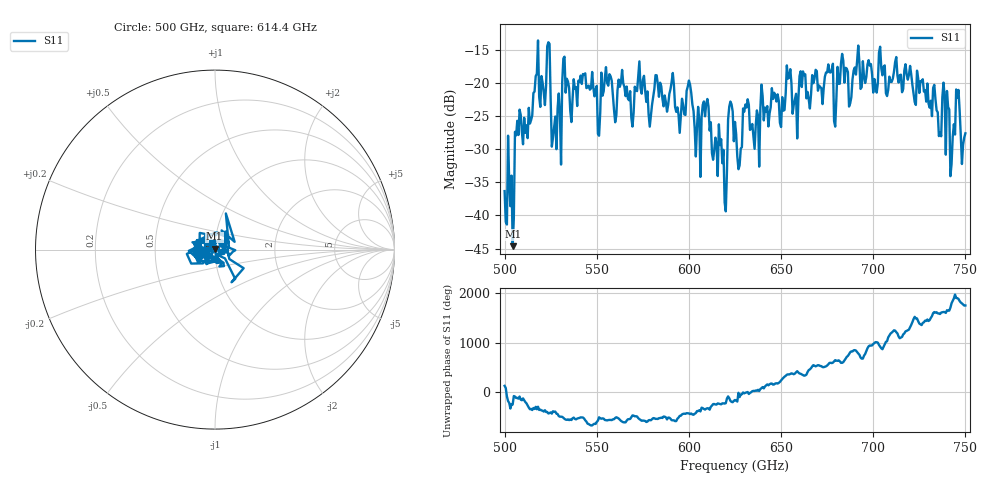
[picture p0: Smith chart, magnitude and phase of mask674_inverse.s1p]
!Created with skrf (http://scikit-rf.org).
# GHz S MA R 50.0
!freq magS11 angS11
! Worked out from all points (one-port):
!   401 points, 500 GHz to 750 GHz, reference 50 ohm
!   lowest |S11| = -44.6 dB at 504.4 GHz (marker M1), VSWR 1.01, Z = 49.7 + j0.516 ohm
!   |S11| at or under -10 dB: start of sweep to end of sweep
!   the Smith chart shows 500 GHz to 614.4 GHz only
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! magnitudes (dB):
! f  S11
! 500 GHz  -36.3
! 504.4 GHz  -44.6
! 506.9 GHz  -25.7
! 513.8 GHz  -26.1
! 516.9 GHz  -18.9
! 523.8 GHz  -13.8
! 526.9 GHz  -26.6
! 531.2 GHz  -19.8
! 562.5 GHz  -20.5
! 579.4 GHz  -24.9
! 590.6 GHz  -19.8
! 593.8 GHz  -23.7
! 600 GHz  -19.6
! 605 GHz  -23.6
! 609.4 GHz  -23.1
! 619.4 GHz  -38.0
! 622.5 GHz  -22.8
! 625 GHz  -25.9
! 627.5 GHz  -32.4
! 630.6 GHz  -23.2
! 636.9 GHz  -24.1
! 656.2 GHz  -24.6
! 680 GHz  -22.3
! 683.8 GHz  -16.6
! 687.5 GHz  -23.0
! 691.2 GHz  -16.6
! 718.8 GHz  -19.5
! 750 GHz  -27.6
